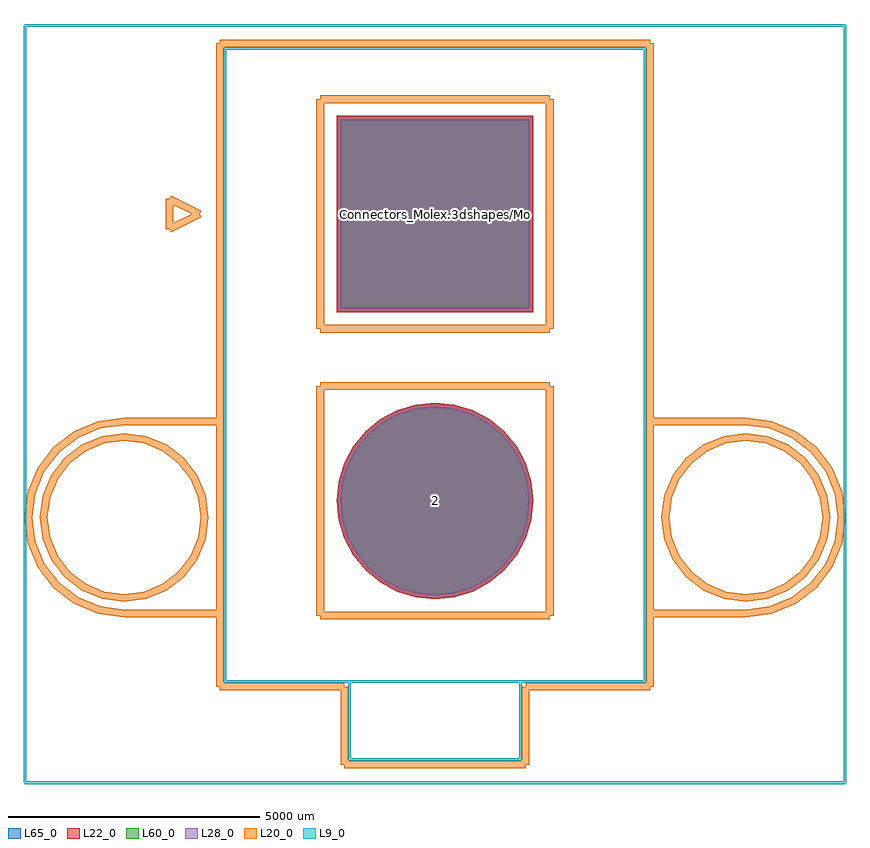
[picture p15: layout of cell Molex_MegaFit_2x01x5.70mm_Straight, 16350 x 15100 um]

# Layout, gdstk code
import gdstk
lib = gdstk.Library(unit=1e-6, precision=1e-09)
def R(c, l, rs):  # rectangles x0, y0, x1, y1
    for r in rs: c.add(gdstk.rectangle(r[:2], r[2:], *l))
def P(c, l, *ps):  # polygons
    for p in ps: c.add(gdstk.Polygon(p, *l))
L9_0 = (9, 0)
L20_0 = (20, 0)
L22_0 = (22, 0)
L28_0 = (28, 0)
L60_0 = (60, 0)
L65_0 = (65, 0)

molex_megafit_2x01x5_70m = lib.new_cell('Molex_MegaFit_2x01x5.70mm_Straight')
R(molex_megafit_2x01x5_70m, L22_0, [(-1950,-1950,1950,1950)])
P(molex_megafit_2x01x5_70m, L22_0, [(1950,-5700),(1912.531,-5319.574),(1801.565,-4953.767),(1621.366,-4616.638),(1378.858,-4321.142),(1083.362,-4078.634),(746.233,-3898.435),(380.426,-3787.469),(0,-3750),(-380.426,-3787.469),(-746.233,-3898.435),(-1083.362,-4078.634),(-1378.858,-4321.142),(-1621.366,-4616.638),(-1801.565,-4953.767),(-1912.531,-5319.574),(-1950,-5700),(-1912.531,-6080.426),(-1801.565,-6446.233),(-1621.366,-6783.362),(-1378.858,-7078.858),(-1083.362,-7321.366),(-746.233,-7501.565),(-380.426,-7612.531),(0,-7650),(380.426,-7612.531),(746.233,-7501.565),(1083.362,-7321.366),(1378.858,-7078.858),(1621.366,-6783.362),(1801.565,-6446.233),(1912.531,-6080.426)])
R(molex_megafit_2x01x5_70m, L28_0, [(-1875,-1875,1875,1875)])
P(molex_megafit_2x01x5_70m, L28_0, [(1875,-5700),(1838.972,-5334.206),(1732.274,-4982.469),(1559.006,-4658.306),(1325.825,-4374.175),(1041.694,-4140.994),(717.531,-3967.726),(365.794,-3861.028),(0,-3825),(-365.794,-3861.028),(-717.531,-3967.726),(-1041.694,-4140.994),(-1325.825,-4374.175),(-1559.006,-4658.306),(-1732.274,-4982.469),(-1838.972,-5334.206),(-1875,-5700),(-1838.972,-6065.794),(-1732.274,-6417.531),(-1559.006,-6741.694),(-1325.825,-7025.825),(-1041.694,-7259.006),(-717.531,-7432.274),(-365.794,-7538.972),(0,-7575),(365.794,-7538.972),(717.531,-7432.274),(1041.694,-7259.006),(1325.825,-7025.825),(1559.006,-6741.694),(1732.274,-6417.531),(1838.972,-6065.794)])
R(molex_megafit_2x01x5_70m, L60_0, [(-1875,-1875,1875,1875)])
P(molex_megafit_2x01x5_70m, L60_0, [(1875,-5700),(1838.972,-5334.206),(1732.274,-4982.469),(1559.006,-4658.306),(1325.825,-4374.175),(1041.694,-4140.994),(717.531,-3967.726),(365.794,-3861.028),(0,-3825),(-365.794,-3861.028),(-717.531,-3967.726),(-1041.694,-4140.994),(-1325.825,-4374.175),(-1559.006,-4658.306),(-1732.274,-4982.469),(-1838.972,-5334.206),(-1875,-5700),(-1838.972,-6065.794),(-1732.274,-6417.531),(-1559.006,-6741.694),(-1325.825,-7025.825),(-1041.694,-7259.006),(-717.531,-7432.274),(-365.794,-7538.972),(0,-7575),(365.794,-7538.972),(717.531,-7432.274),(1041.694,-7259.006),(1325.825,-7025.825),(1559.006,-6741.694),(1732.274,-6417.531),(1838.972,-6065.794)])
R(molex_megafit_2x01x5_70m, L65_0, [(-1950,-1950,1950,1950)])
P(molex_megafit_2x01x5_70m, L65_0, [(1950,-5700),(1912.531,-5319.574),(1801.565,-4953.767),(1621.366,-4616.638),(1378.858,-4321.142),(1083.362,-4078.634),(746.233,-3898.435),(380.426,-3787.469),(0,-3750),(-380.426,-3787.469),(-746.233,-3898.435),(-1083.362,-4078.634),(-1378.858,-4321.142),(-1621.366,-4616.638),(-1801.565,-4953.767),(-1912.531,-5319.574),(-1950,-5700),(-1912.531,-6080.426),(-1801.565,-6446.233),(-1621.366,-6783.362),(-1378.858,-7078.858),(-1083.362,-7321.366),(-746.233,-7501.565),(-380.426,-7612.531),(0,-7650),(380.426,-7612.531),(746.233,-7501.565),(1083.362,-7321.366),(1378.858,-7078.858),(1621.366,-6783.362),(1801.565,-6446.233),(1912.531,-6080.426)])
molex_megafit_2x01x5_70m.add(gdstk.FlexPath([(8150,3750),(-8150,3750)], 50, ends="flush", simple_path=True, layer=9, datatype=0))  # L9_0
molex_megafit_2x01x5_70m.add(gdstk.FlexPath([(8150,-11300),(8150,3750)], 50, ends="flush", simple_path=True, layer=9, datatype=0))  # L9_0
molex_megafit_2x01x5_70m.add(gdstk.FlexPath([(-8150,-11300),(8150,-11300)], 50, ends="flush", simple_path=True, layer=9, datatype=0))  # L9_0
molex_megafit_2x01x5_70m.add(gdstk.FlexPath([(-8150,3750),(-8150,-11300)], 50, ends="flush", simple_path=True, layer=9, datatype=0))  # L9_0
molex_megafit_2x01x5_70m.add(gdstk.FlexPath([(-5275,300),(-4675,0)], 149.998, ends="flush", simple_path=True, layer=20, datatype=0))  # L20_0
molex_megafit_2x01x5_70m.add(gdstk.FlexPath([(-5275,-300),(-5275,300)], 149.998, ends="flush", simple_path=True, layer=20, datatype=0))  # L20_0
molex_megafit_2x01x5_70m.add(gdstk.FlexPath([(-4675,0),(-5275,-300)], 149.998, ends="flush", simple_path=True, layer=20, datatype=0))  # L20_0
molex_megafit_2x01x5_70m.add(gdstk.FlexPath([(2280,-3420),(-2280,-3420)], 149.998, ends="flush", simple_path=True, layer=20, datatype=0))  # L20_0
molex_megafit_2x01x5_70m.add(gdstk.FlexPath([(2280,-7980),(2280,-3420)], 149.998, ends="flush", simple_path=True, layer=20, datatype=0))  # L20_0
molex_megafit_2x01x5_70m.add(gdstk.FlexPath([(-2280,-7980),(2280,-7980)], 149.998, ends="flush", simple_path=True, layer=20, datatype=0))  # L20_0
molex_megafit_2x01x5_70m.add(gdstk.FlexPath([(-2280,-3420),(-2280,-7980)], 149.998, ends="flush", simple_path=True, layer=20, datatype=0))  # L20_0
molex_megafit_2x01x5_70m.add(gdstk.FlexPath([(2280,2280),(-2280,2280)], 149.998, ends="flush", simple_path=True, layer=20, datatype=0))  # L20_0
molex_megafit_2x01x5_70m.add(gdstk.FlexPath([(2280,-2280),(2280,2280)], 149.998, ends="flush", simple_path=True, layer=20, datatype=0))  # L20_0
molex_megafit_2x01x5_70m.add(gdstk.FlexPath([(-2280,-2280),(2280,-2280)], 149.998, ends="flush", simple_path=True, layer=20, datatype=0))  # L20_0
molex_megafit_2x01x5_70m.add(gdstk.FlexPath([(-2280,2280),(-2280,-2280)], 149.998, ends="flush", simple_path=True, layer=20, datatype=0))  # L20_0
molex_megafit_2x01x5_70m.add(gdstk.FlexPath([(6175,-7936.25),(4275,-7936.25)], 149.998, ends="flush", simple_path=True, layer=20, datatype=0))  # L20_0
molex_megafit_2x01x5_70m.add(gdstk.FlexPath([(6175,-4123.75),(4275,-4123.75)], 149.998, ends="flush", simple_path=True, layer=20, datatype=0))  # L20_0
molex_megafit_2x01x5_70m.add(gdstk.FlexPath([(-6175,-7936.25),(-4275,-7936.25)], 149.998, ends="flush", simple_path=True, layer=20, datatype=0))  # L20_0
molex_megafit_2x01x5_70m.add(gdstk.FlexPath([(-6175,-4123.75),(-4275,-4123.75)], 149.998, ends="flush", simple_path=True, layer=20, datatype=0))  # L20_0
molex_megafit_2x01x5_70m.add(gdstk.FlexPath([(1800,-10940),(0,-10940)], 149.998, ends="flush", simple_path=True, layer=20, datatype=0))  # L20_0
molex_megafit_2x01x5_70m.add(gdstk.FlexPath([(1800,-9390),(1800,-10940)], 149.998, ends="flush", simple_path=True, layer=20, datatype=0))  # L20_0
molex_megafit_2x01x5_70m.add(gdstk.FlexPath([(4275,-9390),(1800,-9390)], 149.998, ends="flush", simple_path=True, layer=20, datatype=0))  # L20_0
molex_megafit_2x01x5_70m.add(gdstk.FlexPath([(4275,3390),(4275,-9390)], 149.998, ends="flush", simple_path=True, layer=20, datatype=0))  # L20_0
molex_megafit_2x01x5_70m.add(gdstk.FlexPath([(0,3390),(4275,3390)], 149.998, ends="flush", simple_path=True, layer=20, datatype=0))  # L20_0
molex_megafit_2x01x5_70m.add(gdstk.FlexPath([(-1800,-10940),(0,-10940)], 149.998, ends="flush", simple_path=True, layer=20, datatype=0))  # L20_0
molex_megafit_2x01x5_70m.add(gdstk.FlexPath([(-1800,-9390),(-1800,-10940)], 149.998, ends="flush", simple_path=True, layer=20, datatype=0))  # L20_0
molex_megafit_2x01x5_70m.add(gdstk.FlexPath([(-4275,-9390),(-1800,-9390)], 149.998, ends="flush", simple_path=True, layer=20, datatype=0))  # L20_0
molex_megafit_2x01x5_70m.add(gdstk.FlexPath([(-4275,3390),(-4275,-9390)], 149.998, ends="flush", simple_path=True, layer=20, datatype=0))  # L20_0
molex_megafit_2x01x5_70m.add(gdstk.FlexPath([(0,3390),(-4275,3390)], 149.998, ends="flush", simple_path=True, layer=20, datatype=0))  # L20_0
molex_megafit_2x01x5_70m.add(gdstk.FlexPath([(1700,-10840),(1700,-9290)], 50, ends="flush", simple_path=True, layer=9, datatype=0))  # L9_0
molex_megafit_2x01x5_70m.add(gdstk.FlexPath([(-1700,-10840),(1700,-10840)], 50, ends="flush", simple_path=True, layer=9, datatype=0))  # L9_0
molex_megafit_2x01x5_70m.add(gdstk.FlexPath([(-1700,-9290),(-1700,-10840)], 50, ends="flush", simple_path=True, layer=9, datatype=0))  # L9_0
molex_megafit_2x01x5_70m.add(gdstk.FlexPath([(4175,3290),(-4175,3290)], 50, ends="flush", simple_path=True, layer=9, datatype=0))  # L9_0
molex_megafit_2x01x5_70m.add(gdstk.FlexPath([(4175,-9290),(4175,3290)], 50, ends="flush", simple_path=True, layer=9, datatype=0))  # L9_0
molex_megafit_2x01x5_70m.add(gdstk.FlexPath([(-4175,-9290),(4175,-9290)], 50, ends="flush", simple_path=True, layer=9, datatype=0))  # L9_0
molex_megafit_2x01x5_70m.add(gdstk.FlexPath([(-4175,3290),(-4175,-9290)], 50, ends="flush", simple_path=True, layer=9, datatype=0))  # L9_0
molex_megafit_2x01x5_70m.add(gdstk.FlexPath([(7775,-6030),(7720.481,-5615.89),(7560.641,-5230),(7306.371,-4898.629),(6975,-4644.359),(6589.11,-4484.519),(6175,-4430),(5760.89,-4484.519),(5375,-4644.359),(5043.629,-4898.629),(4789.359,-5230),(4629.519,-5615.89),(4575,-6030),(4629.519,-6444.11),(4789.359,-6830),(5043.629,-7161.371),(5375,-7415.641),(5760.89,-7575.481),(6175,-7630),(6589.11,-7575.481),(6975,-7415.641),(7306.371,-7161.371),(7560.641,-6830),(7720.481,-6444.11),(7775,-6030)], 149.998, ends="flush", simple_path=True, layer=20, datatype=0))  # L20_0
molex_megafit_2x01x5_70m.add(gdstk.FlexPath([(-4575,-6030),(-4629.519,-5615.89),(-4789.359,-5230),(-5043.629,-4898.629),(-5375,-4644.359),(-5760.89,-4484.519),(-6175,-4430),(-6589.11,-4484.519),(-6975,-4644.359),(-7306.371,-4898.629),(-7560.641,-5230),(-7720.481,-5615.89),(-7775,-6030),(-7720.481,-6444.11),(-7560.641,-6830),(-7306.371,-7161.371),(-6975,-7415.641),(-6589.11,-7575.481),(-6175,-7630),(-5760.89,-7575.481),(-5375,-7415.641),(-5043.629,-7161.371),(-4789.359,-6830),(-4629.519,-6444.11),(-4575,-6030)], 149.998, ends="flush", simple_path=True, layer=20, datatype=0))  # L20_0
molex_megafit_2x01x5_70m.add(gdstk.FlexPath([(6175,-7936.25),(6668.374,-7871.296),(7128.125,-7680.861),(7522.922,-7377.922),(7825.861,-6983.125),(8016.296,-6523.374),(8081.25,-6030),(8016.296,-5536.626),(7825.861,-5076.875),(7522.922,-4682.078),(7128.125,-4379.139),(6668.374,-4188.704),(6175,-4123.75)], 149.998, ends="flush", simple_path=True, layer=20, datatype=0))  # L20_0
molex_megafit_2x01x5_70m.add(gdstk.FlexPath([(-6175,-4123.75),(-6668.374,-4188.704),(-7128.125,-4379.139),(-7522.922,-4682.078),(-7825.861,-5076.875),(-8016.296,-5536.626),(-8081.25,-6030),(-8016.296,-6523.374),(-7825.861,-6983.125),(-7522.922,-7377.922),(-7128.125,-7680.861),(-6668.374,-7871.296),(-6175,-7936.25)], 149.998, ends="flush", simple_path=True, layer=20, datatype=0))  # L20_0
molex_megafit_2x01x5_70m.add(gdstk.Label('Connectors_Molex.3dshapes/Molex_MegaFit_2x01x5.70mm_Straight.wrl', (0,0), layer=12, texttype=0))
molex_megafit_2x01x5_70m.add(gdstk.Label('2', (0,-5700), layer=28, texttype=0))
molex_megafit_2x01x5_70m.add(gdstk.Label('1', (0,0), layer=28, texttype=0))
molex_megafit_2x01x5_70m.add(gdstk.Label('type', (0,4700), layer=9, texttype=0))
molex_megafit_2x01x5_70m.add(gdstk.Label('devicename', (0,-12000), layer=9, texttype=0))

lib.write_gds('Molex_MegaFit_2x01x5.70mm_Straight.gds')
